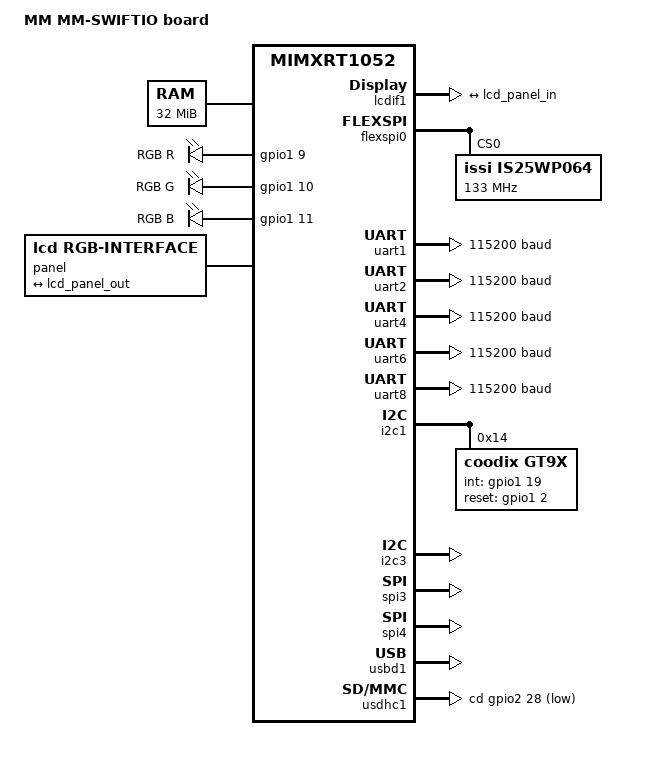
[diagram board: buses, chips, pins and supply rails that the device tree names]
/*
 * Copyright (c) 2019, MADMACHINE LIMITED
 *
 * SPDX-License-Identifier: Apache-2.0
 */

/dts-v1/;

#include <nxp/nxp_rt.dtsi>

/ {
	model = "MM MM-SWIFTIO board";
	compatible = "nxp,mimxrt1052";

	aliases {
		led0 = &green_led;
		led1 = &red_led;
		led2 = &blue_led;
	};

	chosen {
		zephyr,console = &uart1;
		zephyr,shell-uart = &uart1;
	};

	sdram0: memory@80000000 {
		/* Micron MT48LC16M16A2B4-6AIT:G */
		device_type = "memory";
		compatible = "mmio-sram";
		reg = <0x80000000 0x2000000>;
	};

	leds {
		compatible = "gpio-leds";
		red_led: led_0 {
			gpios = <&gpio1 9 0>;
			label = "RGB R";
		};

		green_led: led_1 {
			gpios = <&gpio1 10 0>;
			label = "RGB G";
		};

		blue_led: led_2 {
			gpios = <&gpio1 11 0>;
			label = "RGB B";
		};
	};

	panel {
		compatible = "lcd,rgb-interface";
		width = <800>;
		height = <480>;
		hsw = <1>;
		hfp = <22>;
		hbp = <46>;
		vsw = <1>;
		vfp = <22>;
		vbp = <23>;
		frame-per-sec = <60>;

		port {
			lcd_panel_in: endpoint {
				remote-endpoint = <&lcd_panel_out>;
			};
		};
	};
};

&lcdif1 {
	status = "okay";
	port {
		lcd_panel_out: endpoint {
			remote-endpoint = <&lcd_panel_in>;
		};
	};
};

&flexspi0 {
	reg = <0x402a8000 0x4000>, <0x60000000 0x800000>;
	is25wp064: is25wp064@0 {
		compatible = "issi,is25wp064", "jedec,spi-nor";
		size = <67108864>;
		label = "IS25WP064";
		reg = <0>;
		spi-max-frequency = <133000000>;
		status = "okay";
		jedec-id = [9d 70 17];
	};
};

&uart1 {
	status = "okay";
	current-speed = <115200>;
};

&uart2 {
	status = "okay";
	current-speed = <115200>;
};

&uart4 {
	status = "okay";
	current-speed = <115200>;
};

&uart6 {
	status = "okay";
	current-speed = <115200>;
};

&uart8 {
	status = "okay";
	current-speed = <115200>;
};

&i2c1 {
	status = "okay";
	/* clock-frequency = <I2C_BITRATE_STANDARD>; */
	gt9x@14 {
		compatible = "coodix,gt9x";
		reg = <0x14>;
		label = "GT9X";
		int-gpios = <&gpio1 19 GPIO_ACTIVE_HIGH>;
		reset-gpios = <&gpio1 2 GPIO_ACTIVE_HIGH>;
	};
};

&i2c3 {
	status = "okay";
};


&spi3 {
	status = "okay";
};

&spi4 {
	status = "okay";
};

&usbd1 {
	status = "okay";
};

&usdhc1 {
	status = "okay";
	cd-gpios = <&gpio2 28 GPIO_ACTIVE_LOW>;
};
